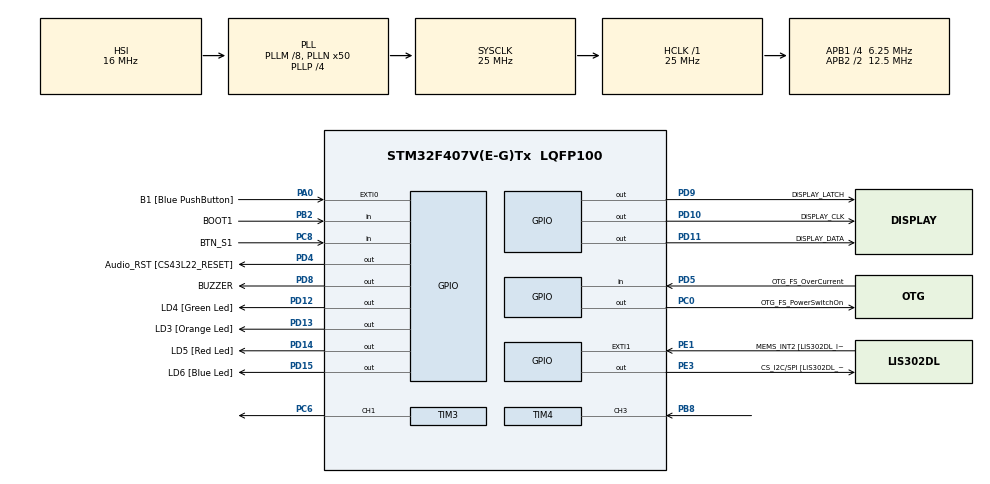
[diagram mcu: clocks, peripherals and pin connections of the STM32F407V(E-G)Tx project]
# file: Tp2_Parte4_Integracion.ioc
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Mcu.Family=STM32F4
Mcu.Name=STM32F407V(E-G)Tx
Mcu.Package=LQFP100
NVIC.PriorityGroup=NVIC_PRIORITYGROUP_0
NVIC.TIM2_IRQn=true\:0\:0\:false\:false\:true\:true\:true\:true
NVIC.TIM3_IRQn=true\:0\:0\:false\:false\:true\:true\:true\:true
NVIC.TIM4_IRQn=true\:0\:0\:false\:false\:true\:true\:true\:true
PA0-WKUP.GPIO_Label=B1 [Blue PushButton]
PA0-WKUP.Signal=GPXTI0
PA10.GPIO_Label=OTG_FS_ID
PA10.GPIO_Mode=GPIO_MODE_AF_PP
PA10.GPIO_PuPd=GPIO_NOPULL
PA10.GPIO_Speed=GPIO_SPEED_FREQ_LOW
PA10.Signal=USB_OTG_FS_ID
PA11.GPIO_Label=OTG_FS_DM
PA11.GPIO_Mode=GPIO_MODE_AF_PP
PA11.GPIO_PuPd=GPIO_NOPULL
PA11.GPIO_Speed=GPIO_SPEED_FREQ_LOW
PA11.Signal=USB_OTG_FS_DM
PA12.GPIO_Label=OTG_FS_DP
PA12.GPIO_Mode=GPIO_MODE_AF_PP
PA12.GPIO_PuPd=GPIO_NOPULL
PA12.GPIO_Speed=GPIO_SPEED_FREQ_LOW
PA12.Signal=USB_OTG_FS_DP
PA13.GPIO_Label=SWDIO
PA13.Mode=Serial_Wire
PA13.Signal=SYS_JTMS-SWDIO
PA14.GPIO_Label=SWCLK
PA14.Mode=Serial_Wire
PA14.Signal=SYS_JTCK-SWCLK
PA4.GPIO_Label=I2S3_WS [CS43L22_LRCK]
PA4.GPIO_Mode=GPIO_MODE_AF_PP
PA4.GPIO_PuPd=GPIO_NOPULL
PA4.GPIO_Speed=GPIO_SPEED_FREQ_LOW
PA4.Signal=I2S3_WS
PA5.GPIO_Label=SPI1_SCK [LIS302DL_SCL/SPC]
PA5.GPIO_Mode=GPIO_MODE_AF_PP
PA5.GPIO_PuPd=GPIO_NOPULL
PA5.GPIO_Speed=GPIO_SPEED_FREQ_LOW
PA5.Signal=SPI1_SCK
PA6.GPIO_Label=SPI1_MISO [LIS302DL_SDO]
PA6.GPIO_Mode=GPIO_MODE_AF_PP
PA6.GPIO_PuPd=GPIO_NOPULL
PA6.GPIO_Speed=GPIO_SPEED_FREQ_LOW
PA6.Signal=SPI1_MISO
PA7.GPIO_Label=SPI1_MOSI [LIS302DL_SDA/SDI/SDO]
PA7.GPIO_Mode=GPIO_MODE_AF_PP
PA7.GPIO_PuPd=GPIO_NOPULL
PA7.GPIO_Speed=GPIO_SPEED_FREQ_LOW
PA7.Signal=SPI1_MOSI
PA9.GPIO_Label=VBUS_FS
PA9.GPIO_Mode=GPIO_MODE_INPUT
PA9.GPIO_PuPd=GPIO_NOPULL
PA9.Signal=USB_OTG_FS_VBUS
PB10.GPIO_Label=CLK_IN [MP45DT02_CLK]
PB10.GPIO_Mode=GPIO_MODE_AF_PP
PB10.GPIO_PuPd=GPIO_NOPULL
PB10.GPIO_Speed=GPIO_SPEED_FREQ_LOW
PB10.Signal=I2S2_CK
PB2.GPIO_Label=BOOT1
PB2.GPIO_Mode=GPIO_MODE_INPUT
PB2.GPIO_PuPd=GPIO_NOPULL
PB2.Signal=GPIO_Input
PB3.GPIO_Label=SWO
PB3.Signal=SYS_JTDO-SWO
PB6.GPIO_Label=Audio_SCL [CS43L22_SCL]
PB6.GPIO_Mode=GPIO_MODE_AF_OD
PB6.GPIO_PuPd=GPIO_NOPULL
PB6.GPIO_Speed=GPIO_SPEED_FREQ_LOW
PB6.Signal=I2C1_SCL
PB8.Signal=S_TIM4_CH3
PB9.GPIO_Label=Audio_SDA [CS43L22_SDA]
PB9.GPIO_Mode=GPIO_MODE_AF_OD
PB9.GPIO_PuPd=GPIO_NOPULL
PB9.GPIO_Speed=GPIO_SPEED_FREQ_LOW
PB9.Signal=I2C1_SDA
PC0.GPIO_Label=OTG_FS_PowerSwitchOn
PC0.GPIO_PuPd=GPIO_NOPULL
PC0.GPIO_Speed=GPIO_SPEED_FREQ_LOW
PC0.PinState=GPIO_PIN_SET
PC0.Signal=GPIO_Output
PC10.GPIO_Label=I2S3_SCK [CS43L22_SCLK]
PC10.GPIO_Mode=GPIO_MODE_AF_PP
PC10.GPIO_PuPd=GPIO_NOPULL
PC10.GPIO_Speed=GPIO_SPEED_FREQ_LOW
PC10.Signal=I2S3_CK
PC12.GPIO_Label=I2S3_SD [CS43L22_SDIN]
PC12.GPIO_Mode=GPIO_MODE_AF_PP
PC12.GPIO_PuPd=GPIO_NOPULL
PC12.GPIO_Speed=GPIO_SPEED_FREQ_LOW
PC12.Signal=I2S3_SD
PC14-OSC32_IN.GPIO_Label=PC14-OSC32_IN
PC14-OSC32_IN.Signal=RCC_OSC32_IN
PC15-OSC32_OUT.GPIO_Label=PC15-OSC32_OUT
PC15-OSC32_OUT.Signal=RCC_OSC32_OUT
PC3.GPIO_Label=PDM_OUT [MP45DT02_DOUT]
PC3.GPIO_Mode=GPIO_MODE_AF_PP
PC3.GPIO_PuPd=GPIO_NOPULL
PC3.GPIO_Speed=GPIO_SPEED_FREQ_LOW
PC3.Signal=I2S2_SD
PC6.Signal=S_TIM3_CH1
PC7.GPIO_Label=I2S3_MCK [CS43L22_MCLK]
PC7.GPIO_Mode=GPIO_MODE_AF_PP
PC7.GPIO_PuPd=GPIO_NOPULL
PC7.GPIO_Speed=GPIO_SPEED_FREQ_LOW
PC7.Signal=I2S3_MCK
PC8.GPIO_Label=BTN_S1
PC8.GPIO_PuPd=GPIO_PULLUP
PC8.Signal=GPIO_Input
PD10.GPIO_Label=DISPLAY_CLK
PD10.Signal=GPIO_Output
PD11.GPIO_Label=DISPLAY_DATA
PD11.Signal=GPIO_Output
PD12.GPIO_Label=LD4 [Green Led]
PD12.GPIO_PuPd=GPIO_NOPULL
PD12.GPIO_Speed=GPIO_SPEED_FREQ_LOW
PD12.Signal=GPIO_Output
PD13.GPIO_Label=LD3 [Orange Led]
PD13.GPIO_PuPd=GPIO_NOPULL
PD13.GPIO_Speed=GPIO_SPEED_FREQ_LOW
PD13.Signal=GPIO_Output
PD14.GPIO_Label=LD5 [Red Led]
PD14.GPIO_PuPd=GPIO_NOPULL
PD14.GPIO_Speed=GPIO_SPEED_FREQ_LOW
PD14.Signal=GPIO_Output
PD15.GPIO_Label=LD6 [Blue Led]
PD15.GPIO_PuPd=GPIO_NOPULL
PD15.GPIO_Speed=GPIO_SPEED_FREQ_LOW
PD15.Signal=GPIO_Output
PD4.GPIO_Label=Audio_RST [CS43L22_RESET]
PD4.GPIO_PuPd=GPIO_NOPULL
PD4.GPIO_Speed=GPIO_SPEED_FREQ_LOW
PD4.Signal=GPIO_Output
PD5.GPIO_Label=OTG_FS_OverCurrent
PD5.GPIO_Mode=GPIO_MODE_INPUT
PD5.GPIO_PuPd=GPIO_NOPULL
PD5.Signal=GPIO_Input
PD8.GPIO_Label=BUZZER
PD8.Signal=GPIO_Output
PD9.GPIO_Label=DISPLAY_LATCH
PD9.Signal=GPIO_Output
PE1.GPIO_Label=MEMS_INT2 [LIS302DL_INT2]
PE1.GPIO_ModeDefaultEXTI=GPIO_MODE_EVT_RISING
PE1.GPIO_PuPd=GPIO_NOPULL
PE1.Signal=GPXTI1
PE3.GPIO_Label=CS_I2C/SPI [LIS302DL_CS_I2C/SPI]
PE3.GPIO_PuPd=GPIO_NOPULL
PE3.GPIO_Speed=GPIO_SPEED_FREQ_LOW
PE3.Signal=GPIO_Output
PH0-OSC_IN.GPIO_Label=PH0-OSC_IN
PH0-OSC_IN.Signal=RCC_OSC_IN
PH1-OSC_OUT.GPIO_Label=PH1-OSC_OUT
PH1-OSC_OUT.Signal=RCC_OSC_OUT
ProjectManager.HeapSize=0x200
ProjectManager.StackSize=0x400
ProjectManager.TargetToolchain=STM32CubeIDE
RCC.48MHZClocksFreq_Value=14285714.285714285
RCC.AHBFreq_Value=25000000
RCC.APB1CLKDivider=RCC_HCLK_DIV4
RCC.APB1Freq_Value=6250000
RCC.APB1TimFreq_Value=12500000
RCC.APB2CLKDivider=RCC_HCLK_DIV2
RCC.APB2Freq_Value=12500000
RCC.APB2TimFreq_Value=25000000
RCC.CortexFreq_Value=25000000
RCC.HCLKFreq_Value=25000000
RCC.HSE_VALUE=8000000
RCC.HSI_VALUE=16000000
RCC.LSE_VALUE=32768
RCC.PLLM=8
RCC.PLLN=50
RCC.PLLP=RCC_PLLP_DIV4
RCC.PLLQ=7
RCC.SYSCLKFreq_VALUE=25000000
RCC.SYSCLKSource=RCC_SYSCLKSOURCE_PLLCLK
RCC.VCOOutputFreq_Value=100000000
SH.S_TIM3_CH1.0=TIM3_CH1,PWM Generation1 CH1
SH.S_TIM4_CH3.0=TIM4_CH3,Input_Capture3_from_TI3
TIM2.Period=4999
TIM2.Prescaler=1249
TIM3.Channel-PWM\ Generation1\ CH1=TIM_CHANNEL_1
TIM3.Period=99
TIM3.Prescaler=124
TIM4.Channel-Input_Capture3_from_TI3=TIM_CHANNEL_3
TIM4.ICPolarity_CH3=TIM_INPUTCHANNELPOLARITY_FALLING
TIM4.Period=4999
TIM4.Prescaler=12499
VP_TIM2_VS_ClockSourceINT.Mode=Internal
VP_TIM3_VS_ClockSourceINT.Mode=Internal
VP_TIM4_VS_ClockSourceINT.Mode=Internal
board=STM32F407G-DISC1

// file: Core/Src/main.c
/* USER CODE BEGIN Header */
/**
  ******************************************************************************
  * @file           : main.c
  * @brief          : Main program body
  ******************************************************************************
  * @attention
  *
  * Copyright (c) 2026 STMicroelectronics.
  * All rights reserved.
  *
  * This software is licensed under terms that can be found in the LICENSE file
  * in the root directory of this software component.
  * If no LICENSE file comes with this software, it is provided AS-IS.
  *
  ******************************************************************************
  */
/* USER CODE END Header */
#include "main.h"
#include "tim.h"
#include "gpio.h"

/* USER CODE BEGIN Includes */
#include "display7seg.h"
/* USER CODE END Includes */

/* USER CODE BEGIN PV */
volatile uint16_t contador_global = 0;
volatile uint8_t duty_cycle_led = 0;
volatile uint8_t buzzer_active = 0;
/* USER CODE END PV */

void SystemClock_Config(void);

int main(void)
{

  /* MCU Configuration--------------------------------------------------------*/

  /* Reset of all peripherals, Initializes the Flash interface and the Systick. */
  HAL_Init();

  /* Configure the system clock */
  SystemClock_Config();

  /* Initialize all configured peripherals */
  MX_GPIO_Init();
  MX_TIM2_Init();
  MX_TIM3_Init();
  MX_TIM4_Init();
  /* USER CODE BEGIN 2 */
  HAL_GPIO_WritePin(GPIOD, BUZZER_Pin, GPIO_PIN_SET);

  HAL_TIM_Base_Start_IT(&htim2);
  HAL_TIM_PWM_Start(&htim3, TIM_CHANNEL_1);
  HAL_TIM_Base_Start_IT(&htim4);
  HAL_TIM_IC_Start_IT(&htim4, TIM_CHANNEL_3);

  __HAL_TIM_SET_COMPARE(&htim3, TIM_CHANNEL_1, 99);
  /* USER CODE END 2 */

  /* Infinite loop */
  while (1)
  {

    /* USER CODE BEGIN 3 */
	  Display_Refresh_Task();
  }
  /* USER CODE END 3 */
}

void SystemClock_Config(void)
{
  RCC_OscInitTypeDef RCC_OscInitStruct = {0};
  RCC_ClkInitTypeDef RCC_ClkInitStruct = {0};

  /** Configure the main internal regulator output voltage
  */
  __HAL_RCC_PWR_CLK_ENABLE();
  __HAL_PWR_VOLTAGESCALING_CONFIG(PWR_REGULATOR_VOLTAGE_SCALE1);

  /** Initializes the RCC Oscillators according to the specified parameters
  * in the RCC_OscInitTypeDef structure.
  */
  RCC_OscInitStruct.OscillatorType = RCC_OSCILLATORTYPE_HSI;
  RCC_OscInitStruct.HSIState = RCC_HSI_ON;
  RCC_OscInitStruct.HSICalibrationValue = RCC_HSICALIBRATION_DEFAULT;
  RCC_OscInitStruct.PLL.PLLState = RCC_PLL_ON;
  RCC_OscInitStruct.PLL.PLLSource = RCC_PLLSOURCE_HSI;
  RCC_OscInitStruct.PLL.PLLM = 8;
  RCC_OscInitStruct.PLL.PLLN = 50;
  RCC_OscInitStruct.PLL.PLLP = RCC_PLLP_DIV4;
  RCC_OscInitStruct.PLL.PLLQ = 7;
  if (HAL_RCC_OscConfig(&RCC_OscInitStruct) != HAL_OK)
  {
    Error_Handler();
  }

  /** Initializes the CPU, AHB and APB buses clocks
  */
  RCC_ClkInitStruct.ClockType = RCC_CLOCKTYPE_HCLK|RCC_CLOCKTYPE_SYSCLK
                              |RCC_CLOCKTYPE_PCLK1|RCC_CLOCKTYPE_PCLK2;
  RCC_ClkInitStruct.SYSCLKSource = RCC_SYSCLKSOURCE_PLLCLK;
  RCC_ClkInitStruct.AHBCLKDivider = RCC_SYSCLK_DIV1;
  RCC_ClkInitStruct.APB1CLKDivider = RCC_HCLK_DIV4;
  RCC_ClkInitStruct.APB2CLKDivider = RCC_HCLK_DIV2;

  if (HAL_RCC_ClockConfig(&RCC_ClkInitStruct, FLASH_LATENCY_0) != HAL_OK)
  {
    Error_Handler();
  }
}

/* USER CODE BEGIN 4 */
void HAL_TIM_PeriodElapsedCallback(TIM_HandleTypeDef *htim){
	if (htim->Instance == TIM2) {
		static uint8_t ticks = 0;
		ticks++;

		if (ticks >= 2) {
			ticks = 0;

			contador_global++;
			if (contador_global > 9999) contador_global = 0;

			Display_SetNumber(contador_global);
		}

		if (buzzer_active) {
			buzzer_active = 0;

			HAL_GPIO_WritePin(GPIOD, BUZZER_Pin, GPIO_PIN_SET);
		}
	}

	if (htim->Instance == TIM4) {
		HAL_GPIO_WritePin(GPIOD, BUZZER_Pin, GPIO_PIN_RESET);
		buzzer_active = 1;
	}
}

void HAL_TIM_IC_CaptureCallback(TIM_HandleTypeDef *htim){
	if (htim->Instance == TIM4 && htim->Channel == HAL_TIM_ACTIVE_CHANNEL_3) {
		static uint8_t esperando_liberacion = 0;

		if (!esperando_liberacion) {
			duty_cycle_led += 10;

			if (duty_cycle_led > 99) {
				duty_cycle_led = 0;
			}
			uint8_t duty_real = 99 - duty_cycle_led;
			__HAL_TIM_SET_COMPARE(&htim3, TIM_CHANNEL_1, duty_real);

			__HAL_TIM_SET_CAPTUREPOLARITY(htim, TIM_CHANNEL_3, TIM_INPUTCHANNELPOLARITY_RISING);
			esperando_liberacion = 1;
		} else {
			__HAL_TIM_SET_CAPTUREPOLARITY(htim, TIM_CHANNEL_3, TIM_INPUTCHANNELPOLARITY_FALLING);
			esperando_liberacion = 0;
		}
	}
}
/* USER CODE END 4 */

void Error_Handler(void)
{
  __disable_irq();
  while (1)
  {
  }
}
